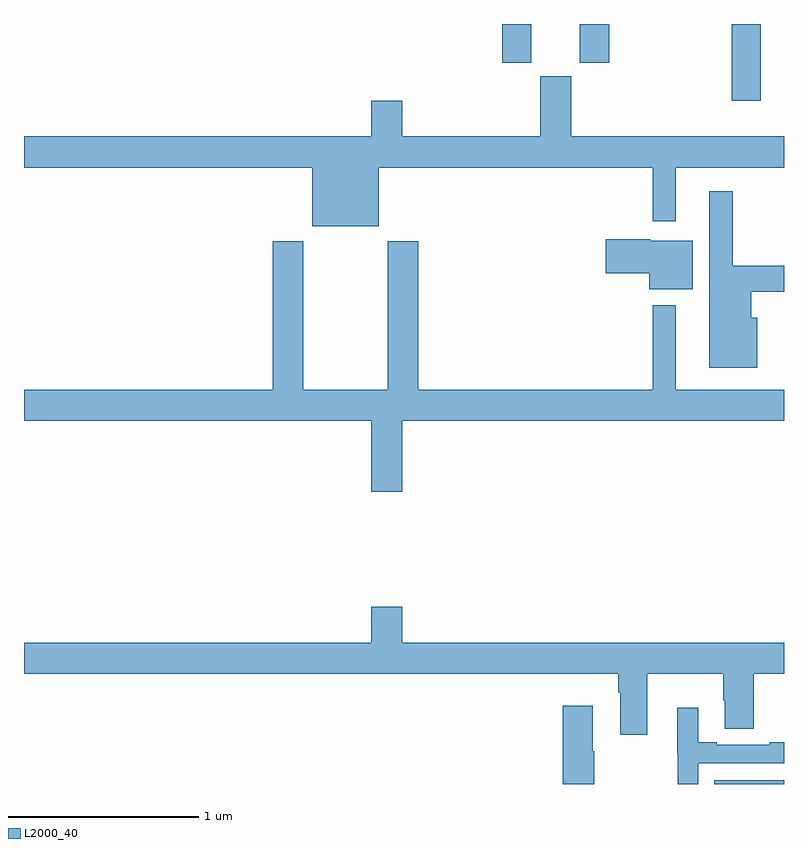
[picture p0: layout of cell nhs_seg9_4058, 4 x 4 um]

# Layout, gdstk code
import gdstk
lib = gdstk.Library(unit=1e-6, precision=1e-09)
def R(c, l, rs):  # rectangles x0, y0, x1, y1
    for r in rs: c.add(gdstk.rectangle(r[:2], r[2:], *l))
def P(c, l, *ps):  # polygons
    for p in ps: c.add(gdstk.Polygon(p, *l))
L2000_40 = (2000, 40)

nhs_seg9_4058 = lib.new_cell('nhs_seg9_4058')
R(nhs_seg9_4058, L2000_40, [(346.633,1202.5,347,1202.521), (346.724,1206.096,346.878,1206.5), (345.518,1206.297,345.67,1206.5), (345.926,1206.297,346.079,1206.5)])
P(nhs_seg9_4058, L2000_40, [(344.866,1205.744),(346.308,1205.744),(346.308,1205.463),(346.429,1205.463),(346.429,1205.744),(347,1205.744),(347,1205.908),(345.88,1205.908),(345.88,1206.225),(345.716,1206.225),(345.716,1205.908),(344.992,1205.908),(344.992,1206.097),(344.828,1206.097),(344.828,1205.908),(343,1205.908),(343,1205.744),(344.516,1205.744),(344.516,1205.435),(344.866,1205.435)],
  [(346.858,1204.954),(346.828,1204.954),(346.828,1205.092),(347,1205.092),(347,1205.228),(346.729,1205.228),(346.729,1205.62),(346.607,1205.62),(346.607,1204.691),(346.858,1204.691)],
  [(346.519,1205.359),(346.296,1205.359),(346.296,1205.367),(346.062,1205.367),(346.062,1205.189),(346.292,1205.189),(346.292,1205.105),(346.519,1205.105)],
  [(344.992,1204.412),(347,1204.412),(347,1204.576),(346.429,1204.576),(346.429,1205.02),(346.308,1205.02),(346.308,1204.576),(345.074,1204.576),(345.074,1205.356),(344.914,1205.356),(344.914,1204.576),(344.469,1204.576),(344.469,1205.356),(344.309,1205.356),(344.309,1204.576),(343,1204.576),(343,1204.412),(344.828,1204.412),(344.828,1204.038),(344.992,1204.038)],
  [(346.279,1203.08),(346.681,1203.08),(346.681,1202.942),(346.688,1202.942),(346.688,1202.791),(346.841,1202.791),(346.841,1203.08),(347,1203.08),(347,1203.244),(344.992,1203.244),(344.992,1203.433),(344.828,1203.433),(344.828,1203.244),(343,1203.244),(343,1203.08),(346.127,1203.08),(346.127,1202.984),(346.139,1202.984),(346.139,1202.76),(346.279,1202.76)],
  [(346.002,1202.672),(345.994,1202.672),(345.994,1202.911),(345.836,1202.911),(345.836,1202.5),(346.002,1202.5)],
  [(346.548,1202.61),(347,1202.61),(347,1202.719),(346.924,1202.719),(346.924,1202.706),(346.645,1202.706),(346.645,1202.719),(346.549,1202.719),(346.549,1202.902),(346.439,1202.902),(346.439,1202.657),(346.44,1202.657),(346.44,1202.5),(346.548,1202.5)])

lib.write_gds('nhs_seg9_4058.gds')
